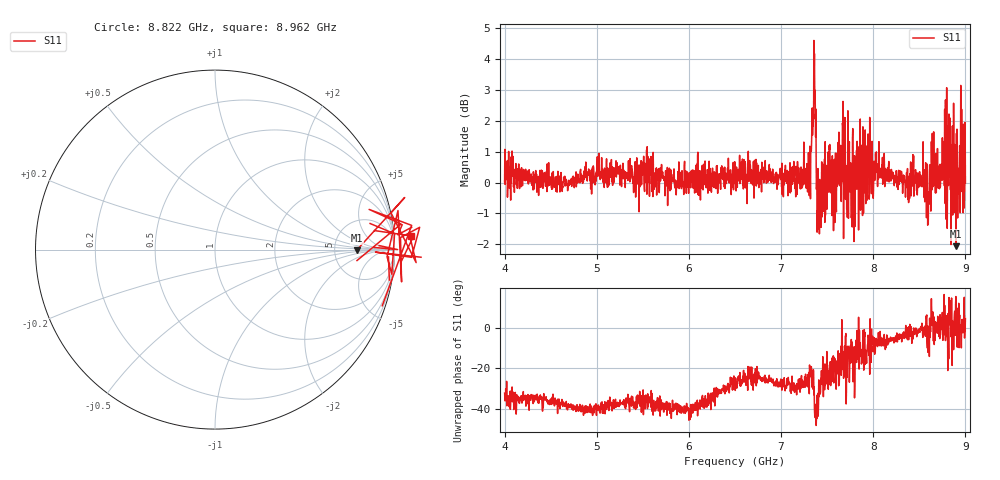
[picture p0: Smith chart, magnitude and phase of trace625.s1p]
! Created with skrf 1.8.0 (http://scikit-rf.org).
# Hz S RI R 50.0
!freq ReS11 ImS11
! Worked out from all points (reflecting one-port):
!   1601 points, 4 GHz to 9 GHz, reference 50 ohm
!   lowest |S11| = -2.1 dB at 8.9 GHz (marker M1), VSWR 8.46, Z = 423 - j8.96 ohm
!   phase of S11 starts at -32 deg and turns +37 deg over the sweep
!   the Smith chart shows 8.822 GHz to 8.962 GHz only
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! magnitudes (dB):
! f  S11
! 4 GHz  0.0
! 4.625 GHz  -0.3
! 5.25 GHz  -0.1
! 5.875 GHz  0.0
! 6.5 GHz  0.4
! 7.125 GHz  0.0
! 7.294 GHz  0.1
! 7.328 GHz  1.0
! 7.353 GHz  2.1
! 7.375 GHz  1.5
! 7.391 GHz  -1.6
! 7.409 GHz  -1.5
! 7.512 GHz  1.0
! 7.575 GHz  0.7
! 7.669 GHz  1.8
! 7.75 GHz  -0.3
! 7.775 GHz  1.4
! 7.828 GHz  1.0
! 7.962 GHz  2.1
! 8.375 GHz  -0.3
! 8.525 GHz  0.0
! 8.603 GHz  -0.6
! 8.656 GHz  1.6
! 8.709 GHz  0.4
! 8.8 GHz  1.4
! 8.9 GHz  -2.1
! 8.956 GHz  -0.1
! 9 GHz  0.0
